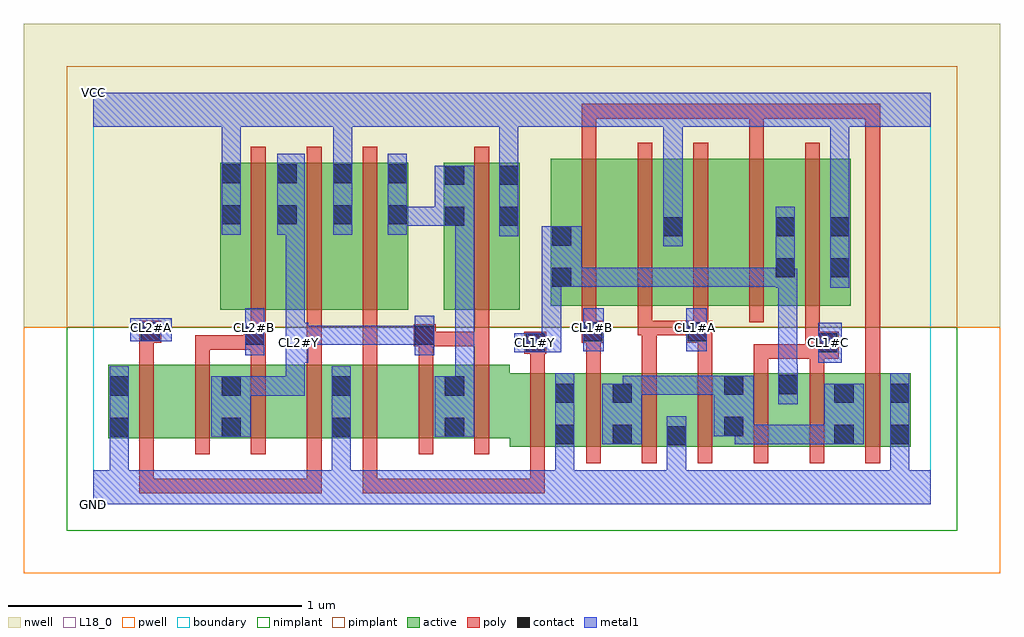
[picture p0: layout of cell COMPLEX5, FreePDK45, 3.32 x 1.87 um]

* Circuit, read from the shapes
.subckt COMPLEX5 CL1#A CL1#B CL1#C CL1#Y CL2#A CL2#B CL2#Y GND VCC
M1 n1 CL2#A GND VSUBS nfet w=0.25u l=0.05u
M2 CL2#Y CL2#B n1 VSUBS nfet w=0.25u l=0.05u
M3 n2 CL2#B CL2#Y VSUBS nfet w=0.25u l=0.05u
M4 GND CL2#A n2 VSUBS nfet w=0.25u l=0.05u
M5 n3 CL1#Y GND VSUBS nfet w=0.25u l=0.05u
M6 n4 CL2#Y n3 VSUBS nfet w=0.25u l=0.05u
M7 n5 CL2#Y n4 VSUBS nfet w=0.25u l=0.05u
M8 GND CL1#Y n5 VSUBS nfet w=0.25u l=0.05u
M9 n6 CL1#B GND VSUBS nfet w=0.25u l=0.05u m=2
M10 GND CL1#A n6 VSUBS nfet w=0.25u l=0.05u m=2
M11 CL1#Y CL1#C n6 VSUBS nfet w=0.25u l=0.05u m=2
M12 CL2#Y CL2#B VCC n7 pfet w=0.5u l=0.05u
M13 VCC CL2#A CL2#Y n7 pfet w=0.5u l=0.05u
M14 n4 CL1#Y VCC n7 pfet w=0.5u l=0.05u
M15 VCC CL2#Y n4 n7 pfet w=0.5u l=0.05u
M16 n8 CL1#B CL1#Y n7 pfet w=0.5u l=0.05u
M17 VCC CL1#A n8 n7 pfet w=0.5u l=0.05u
M18 n9 CL1#A VCC n7 pfet w=0.5u l=0.05u
M19 CL1#Y CL1#B n9 n7 pfet w=0.5u l=0.05u
M20 VCC CL1#C CL1#Y n7 pfet w=0.5u l=0.05u
.ends

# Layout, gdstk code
import gdstk
lib = gdstk.Library(unit=1e-6, precision=1e-09)
def R(c, l, rs):  # rectangles x0, y0, x1, y1
    for r in rs: c.add(gdstk.rectangle(r[:2], r[2:], *l))
def A(c, l, x, y, w, h, nx, ny, dx, dy):  # array of equal rectangles
    R(c, l, [(x+i*dx, y+j*dy, x+i*dx+w, y+j*dy+h) for i in range(nx) for j in range(ny)])
active = (1, 0)
pwell = (2, 0)
nwell = (3, 0)
nimplant = (4, 0)
pimplant = (5, 0)
poly = (9, 0)
contact = (10, 0)
metal1 = (11, 0)
L18_0 = (18, 0)
boundary = (235, 0)

complex5 = lib.new_cell('COMPLEX5')
R(complex5, active, [(1.417,0.195,1.642,0.445), (1.567,0.195,1.837,0.445), (1.567,0.195,1.642,0.415), (1.762,0.195,2.022,0.445), (1.947,0.195,2.217,0.445), (1.947,0.195,2.022,0.372), (2.142,0.195,2.402,0.445), (2.327,0.195,2.592,0.445), (2.517,0.195,2.782,0.445), (1.762,0.2,1.837,0.415), (2.142,0.2,2.217,0.445), (2.517,0.2,2.592,0.445), (2.707,0.2,2.782,0.445), (0.052,0.225,0.277,0.475), (0.052,0.225,0.127,0.475), (0.277,0.225,0.507,0.475), (0.432,0.225,0.657,0.475), (0.432,0.225,0.507,0.467), (0.657,0.225,0.882,0.475), (0.807,0.225,0.882,0.44), (0.807,0.225,1.037,0.475), (1.037,0.225,1.267,0.475), (1.192,0.225,1.417,0.475), (1.192,0.225,1.267,0.467), (2.327,0.297,2.402,0.445), (0.432,0.662,0.507,1.162), (0.432,0.662,0.697,1.162), (0.622,0.662,0.887,1.162), (0.812,0.662,1.072,1.162), (0.997,0.662,1.072,1.162), (1.192,0.662,1.267,1.162), (1.192,0.662,1.452,1.162), (1.377,0.662,1.452,1.157), (1.557,0.675,1.782,1.175), (1.557,0.675,1.632,1.157), (1.782,0.675,2.01,1.175), (1.935,0.675,2.162,1.175), (2.162,0.675,2.392,1.175), (2.317,0.675,2.577,1.175), (2.502,0.675,2.577,1.175), (1.935,0.682,2.01,1.175), (2.317,0.762,2.392,1.157), (0.622,0.807,0.697,1.162), (0.812,0.807,0.887,1.162)])
R(complex5, pwell, [(-0.235,-0.235,3.085,0.602)])
R(complex5, nwell, [(-0.235,0.602,3.085,1.635)])
R(complex5, nimplant, [(-0.09,-0.09,2.94,0.602)])
R(complex5, pimplant, [(-0.09,0.602,2.94,1.49)])
A(complex5, poly, 1.487, 0.14, 0.05, 0.36, 7, 1, 0.19, 0)
A(complex5, poly, 0.157, 0.17, 0.05, 0.36, 7, 1, 0.19, 0)
A(complex5, poly, 0.347, 0.48, 0.05, 0.095, 3, 1, 0.19, 0)
A(complex5, poly, 1.662, 0.575, 0.05, 0.095, 3, 1, 0.19, 0)
A(complex5, poly, 0.537, 0.607, 0.05, 0.61, 3, 1, 0.19, 0)
A(complex5, poly, 1.662, 0.62, 0.05, 0.61, 5, 1, 0.19, 0)
R(complex5, poly, [(0.157,0.037,0.207,0.087), (0.157,0.037,0.207,0.087), (0.157,0.037,0.207,0.087), (0.157,0.037,0.207,0.22), (0.157,0.037,0.365,0.087), (0.315,0.037,0.365,0.087), (0.315,0.037,0.365,0.087), (0.315,0.037,0.365,0.087), (0.315,0.037,0.53,0.087), (0.48,0.037,0.53,0.087), (0.48,0.037,0.777,0.087), (0.727,0.037,0.777,0.087), (0.727,0.037,0.777,0.087), (0.727,0.037,0.777,0.087), (0.727,0.037,0.777,0.22), (0.917,0.037,0.967,0.087), (0.917,0.037,1.165,0.087), (0.917,0.037,0.967,0.22), (1.115,0.037,1.165,0.087), (1.115,0.037,1.165,0.087), (1.115,0.037,1.165,0.087), (1.115,0.037,1.297,0.087), (1.247,0.037,1.297,0.087), (1.247,0.037,1.297,0.087), (1.247,0.037,1.297,0.087), (1.247,0.037,1.537,0.087), (1.487,0.037,1.537,0.087), (1.487,0.037,1.537,0.087), (1.487,0.037,1.537,0.087), (1.487,0.037,1.537,0.19), (1.487,0.45,1.537,0.562), (1.677,0.45,1.727,0.6), (1.867,0.45,1.917,0.625), (2.057,0.45,2.107,0.6), (2.247,0.45,2.297,0.545), (2.437,0.45,2.487,0.545), (2.627,0.45,2.677,1.362), (0.157,0.48,0.207,0.6), (0.917,0.48,0.967,0.612), (1.107,0.48,1.157,0.587), (1.297,0.48,1.347,0.587), (2.247,0.495,2.297,0.545), (2.247,0.495,2.412,0.545), (2.362,0.495,2.412,0.545), (2.362,0.495,2.472,0.545), (2.422,0.495,2.537,0.587), (1.467,0.512,1.542,0.587), (0.347,0.525,0.397,0.575), (0.347,0.525,0.562,0.575), (0.512,0.525,0.562,0.575), (0.512,0.525,0.562,0.575), (0.512,0.525,0.587,0.612), (0.727,0.525,0.777,0.575), (0.727,0.525,0.777,0.657), (1.09,0.537,1.165,0.612), (1.115,0.537,1.347,0.587), (1.297,0.537,1.347,0.587), (1.297,0.537,1.347,0.587), (1.297,0.537,1.347,0.587), (1.297,0.537,1.347,0.657), (2.422,0.537,2.472,0.67), (0.157,0.55,0.232,0.625), (1.662,0.55,1.737,0.625), (2.017,0.55,2.107,0.625), (0.537,0.562,0.587,0.657), (0.917,0.562,0.967,0.612), (0.917,0.562,0.967,0.657), (1.852,0.575,1.917,0.625), (1.867,0.575,1.917,0.625), (1.867,0.575,1.917,0.625), (1.867,0.575,2.067,0.625), (1.297,0.607,1.347,1.217), (1.662,1.18,1.712,1.362), (2.232,1.18,2.282,1.362), (1.662,1.312,1.712,1.362), (1.662,1.312,1.712,1.362), (1.662,1.312,1.712,1.362), (1.662,1.312,1.917,1.362), (1.867,1.312,1.917,1.362), (1.867,1.312,1.917,1.362), (1.867,1.312,1.917,1.362), (1.867,1.312,2.05,1.362), (2,1.312,2.05,1.362), (2,1.312,2.05,1.362), (2,1.312,2.05,1.362), (2,1.312,2.282,1.362), (2.232,1.312,2.282,1.362), (2.232,1.312,2.282,1.362), (2.232,1.312,2.282,1.362), (2.232,1.312,2.545,1.362), (2.495,1.312,2.545,1.362), (2.495,1.312,2.545,1.362), (2.495,1.312,2.545,1.362), (2.495,1.312,2.677,1.362), (2.627,1.312,2.677,1.362), (2.627,1.312,2.677,1.362), (2.627,1.312,2.677,1.362), (2.627,1.312,2.677,1.362), (2.627,1.312,2.677,1.362), (2.627,1.312,2.677,1.362), (2.627,1.312,2.677,1.362), (2.627,1.312,2.677,1.362), (2.627,1.312,2.677,1.362), (2.627,1.312,2.677,1.362), (2.627,1.312,2.677,1.362)])
A(complex5, contact, 0.437, 0.952, 0.065, 0.065, 3, 2, 0.19, 0.14)
R(complex5, contact, [(1.952,0.2,2.017,0.265), (1.572,0.205,1.637,0.27), (1.767,0.205,1.832,0.27), (2.522,0.205,2.587,0.27), (2.712,0.205,2.777,0.27), (0.057,0.23,0.122,0.295), (0.437,0.23,0.502,0.295), (0.812,0.23,0.877,0.295), (1.197,0.23,1.262,0.295), (2.147,0.232,2.212,0.297), (1.572,0.345,1.637,0.41), (1.767,0.345,1.832,0.41), (2.522,0.345,2.587,0.41), (2.712,0.345,2.777,0.41), (0.057,0.37,0.122,0.435), (0.437,0.37,0.502,0.435), (0.812,0.37,0.877,0.435), (1.197,0.37,1.262,0.435), (2.147,0.372,2.212,0.437), (2.332,0.375,2.397,0.44), (1.472,0.517,1.537,0.582), (2.467,0.517,2.532,0.582), (0.517,0.542,0.582,0.607), (1.095,0.542,1.16,0.607), (0.162,0.555,0.227,0.62), (1.667,0.555,1.732,0.62), (2.022,0.555,2.087,0.62), (1.562,0.74,1.627,0.805), (2.322,0.772,2.387,0.837), (2.507,0.772,2.572,0.837), (1.562,0.88,1.627,0.945), (1.94,0.912,2.005,0.977), (2.322,0.912,2.387,0.977), (2.507,0.912,2.572,0.977), (1.197,0.947,1.262,1.012), (1.382,0.947,1.447,1.012), (1.002,0.952,1.067,1.017), (1.197,1.087,1.262,1.152), (1.382,1.087,1.447,1.152), (1.002,1.092,1.067,1.157)])
R(complex5, metal1, [(0,0,2.85,0.115), (0.057,0.05,0.122,0.26), (0.812,0.05,0.877,0.115), (0.812,0.05,0.877,0.115), (0.812,0.05,0.877,0.115), (0.812,0.05,0.877,0.115), (0.812,0.05,0.877,0.26), (1.572,0.05,1.637,0.235), (1.952,0.05,2.017,0.115), (1.952,0.05,2.017,0.115), (1.952,0.05,2.017,0.115), (1.952,0.05,2.017,0.115), (1.952,0.05,2.017,0.23), (2.712,0.05,2.777,0.235), (2.712,0.05,2.777,0.115), (2.712,0.05,2.777,0.115), (2.712,0.05,2.777,0.115), (2.712,0.05,2.777,0.115), (1.952,0.165,2.017,0.3), (1.572,0.17,1.637,0.445), (1.572,0.17,1.637,0.235), (1.572,0.17,1.637,0.235), (1.572,0.17,1.637,0.235), (1.572,0.17,1.637,0.235), (2.712,0.17,2.777,0.445), (0.057,0.195,0.122,0.47), (0.057,0.195,0.122,0.26), (0.057,0.195,0.122,0.26), (0.057,0.195,0.122,0.26), (0.057,0.195,0.122,0.26), (0.812,0.195,0.877,0.47), (1.732,0.205,1.867,0.41), (2.182,0.205,2.247,0.27), (2.182,0.205,2.247,0.27), (2.182,0.205,2.247,0.27), (2.182,0.205,2.385,0.27), (2.182,0.205,2.247,0.297), (2.32,0.205,2.385,0.27), (2.32,0.205,2.552,0.27), (2.487,0.205,2.552,0.27), (2.487,0.205,2.552,0.27), (2.487,0.205,2.622,0.41), (0.402,0.23,0.537,0.435), (1.162,0.23,1.297,0.435), (2.112,0.232,2.247,0.437), (2.33,0.34,2.397,0.475), (1.802,0.345,1.867,0.41), (1.802,0.345,1.867,0.437), (0.472,0.37,0.72,0.435), (0.655,0.37,0.72,0.435), (0.655,0.37,0.72,0.435), (0.655,0.37,0.72,0.435), (0.655,0.37,0.72,0.547), (1.232,0.37,1.297,1.012), (1.802,0.372,2.04,0.437), (1.975,0.372,2.04,0.437), (1.975,0.372,2.04,0.437), (1.975,0.372,2.04,0.437), (1.975,0.372,2.177,0.437), (2.33,0.41,2.395,0.802), (0.655,0.482,0.732,0.617), (2.467,0.482,2.547,0.617), (0.517,0.507,0.582,0.667), (1.095,0.507,1.16,0.642), (1.432,0.517,1.572,0.582), (1.507,0.517,1.592,0.582), (1.527,0.517,1.592,0.582), (1.527,0.517,1.592,0.805), (1.667,0.52,1.737,0.667), (2.017,0.52,2.087,0.667), (0.667,0.542,0.885,0.607), (0.82,0.542,0.885,0.607), (0.82,0.542,0.885,0.607), (0.82,0.542,0.885,0.607), (0.82,0.542,1.022,0.607), (0.957,0.542,1.022,0.607), (0.957,0.542,1.022,0.607), (0.957,0.542,1.022,0.607), (0.957,0.542,1.16,0.607), (0.655,0.552,0.72,0.982), (0.127,0.555,0.267,0.632), (2.322,0.737,2.387,1.012), (2.322,0.737,2.387,0.802), (2.322,0.737,2.395,0.802), (2.507,0.737,2.572,1.012), (1.527,0.74,1.662,0.945), (1.597,0.74,1.71,0.805), (1.645,0.74,1.71,0.805), (1.645,0.74,1.867,0.805), (1.802,0.74,1.867,0.805), (1.802,0.74,1.867,0.805), (1.802,0.74,1.867,0.805), (1.802,0.74,2.005,0.805), (1.94,0.74,2.005,0.805), (1.94,0.74,2.005,0.805), (1.94,0.74,2.005,0.805), (1.94,0.74,2.177,0.805), (2.112,0.74,2.177,0.805), (2.112,0.74,2.387,0.805), (2.322,0.74,2.387,0.805), (2.322,0.74,2.387,0.805), (1.94,0.877,2.005,1.012), (1.382,0.912,1.447,1.187), (0.437,0.917,0.502,1.192), (0.627,0.917,0.72,1.192), (0.817,0.917,0.882,1.192), (1.002,0.917,1.067,1.192), (1.002,0.947,1.227,1.012), (1.162,0.947,1.227,1.012), (1.162,0.947,1.227,1.012), (1.162,0.947,1.297,1.152), (1.232,0.947,1.297,1.012), (1.232,0.947,1.297,1.012), (1.94,0.947,2.005,1.012), (1.94,0.947,2.005,1.012), (1.94,0.947,2.005,1.35), (2.507,0.947,2.572,1.012), (2.507,0.947,2.572,1.012), (2.507,0.947,2.572,1.35), (1.382,1.122,1.447,1.187), (1.382,1.122,1.447,1.187), (1.382,1.122,1.447,1.35), (0.437,1.127,0.502,1.35), (0.817,1.127,0.882,1.192), (0.817,1.127,0.882,1.192), (0.817,1.127,0.882,1.35), (0,1.285,2.85,1.4), (0.437,1.285,0.502,1.35), (0.437,1.285,0.502,1.35)])
R(complex5, L18_0, [(0,0,2.85,0.115), (0.057,0.05,0.122,0.26), (0.812,0.05,0.877,0.115), (0.812,0.05,0.877,0.115), (0.812,0.05,0.877,0.115), (0.812,0.05,0.877,0.115), (0.812,0.05,0.877,0.26), (1.572,0.05,1.637,0.235), (1.952,0.05,2.017,0.115), (1.952,0.05,2.017,0.115), (1.952,0.05,2.017,0.115), (1.952,0.05,2.017,0.115), (1.952,0.05,2.017,0.23), (2.712,0.05,2.777,0.115), (2.712,0.05,2.777,0.115), (2.712,0.05,2.777,0.115), (2.712,0.05,2.777,0.115), (2.712,0.05,2.777,0.235), (1.952,0.165,2.017,0.3), (1.572,0.17,1.637,0.235), (1.572,0.17,1.637,0.235), (1.572,0.17,1.637,0.235), (1.572,0.17,1.637,0.235), (1.572,0.17,1.637,0.445), (2.712,0.17,2.777,0.445), (0.057,0.195,0.122,0.26), (0.057,0.195,0.122,0.26), (0.057,0.195,0.122,0.26), (0.057,0.195,0.122,0.26), (0.057,0.195,0.122,0.47), (0.812,0.195,0.877,0.47), (0.402,0.23,0.537,0.435), (2.33,0.34,2.397,0.475), (0.472,0.37,0.72,0.435), (0.655,0.37,0.72,0.435), (0.655,0.37,0.72,0.435), (0.655,0.37,0.72,0.435), (0.655,0.37,0.72,0.547), (2.33,0.41,2.395,0.802), (0.655,0.482,0.732,0.617), (2.467,0.482,2.547,0.617), (0.517,0.507,0.582,0.667), (1.095,0.507,1.16,0.642), (0.667,0.517,0.732,0.582), (1.432,0.517,1.572,0.582), (1.467,0.517,1.532,0.582), (1.507,0.517,1.592,0.582), (1.527,0.517,1.592,0.582), (1.527,0.517,1.592,0.805), (2.467,0.517,2.532,0.582), (1.667,0.52,1.737,0.667), (2.017,0.52,2.087,0.667), (0.667,0.542,0.885,0.607), (0.82,0.542,0.885,0.607), (0.82,0.542,0.885,0.607), (0.82,0.542,0.885,0.607), (0.82,0.542,1.022,0.607), (0.957,0.542,1.022,0.607), (0.957,0.542,1.022,0.607), (0.957,0.542,1.022,0.607), (0.957,0.542,1.16,0.607), (0.655,0.552,0.72,0.982), (0.127,0.555,0.267,0.632), (0.167,0.567,0.232,0.632), (0.517,0.567,0.582,0.632), (1.667,0.567,1.732,0.632), (2.017,0.567,2.082,0.632), (2.322,0.737,2.387,0.802), (2.322,0.737,2.387,1.012), (2.322,0.737,2.395,0.802), (2.507,0.737,2.572,1.012), (1.527,0.74,1.662,0.945), (1.597,0.74,1.71,0.805), (1.645,0.74,1.71,0.805), (1.645,0.74,1.867,0.805), (1.802,0.74,1.867,0.805), (1.802,0.74,1.867,0.805), (1.802,0.74,1.867,0.805), (1.802,0.74,2.005,0.805), (1.94,0.74,2.005,0.805), (1.94,0.74,2.005,0.805), (1.94,0.74,2.005,0.805), (1.94,0.74,2.177,0.805), (2.112,0.74,2.177,0.805), (2.112,0.74,2.387,0.805), (2.322,0.74,2.387,0.805), (2.322,0.74,2.387,0.805), (1.94,0.877,2.005,1.012), (1.382,0.912,1.447,1.187), (0.437,0.917,0.502,1.192), (0.627,0.917,0.72,1.192), (0.817,0.917,0.882,1.192), (1.94,0.947,2.005,1.012), (1.94,0.947,2.005,1.012), (1.94,0.947,2.005,1.35), (2.507,0.947,2.572,1.012), (2.507,0.947,2.572,1.012), (2.507,0.947,2.572,1.35), (1.382,1.122,1.447,1.187), (1.382,1.122,1.447,1.187), (1.382,1.122,1.447,1.35), (0.437,1.127,0.502,1.35), (0.817,1.127,0.882,1.192), (0.817,1.127,0.882,1.192), (0.817,1.127,0.882,1.35), (0,1.285,2.85,1.4), (0.437,1.285,0.502,1.35), (0.437,1.285,0.502,1.35)])
R(complex5, boundary, [(0,0,2.85,1.4)])
complex5.add(gdstk.Label('CL1#A', (2.05,0.6), layer=11, texttype=0))
complex5.add(gdstk.Label('CL1#B', (1.7,0.6), layer=11, texttype=0))
complex5.add(gdstk.Label('CL1#C', (2.5,0.55), layer=11, texttype=0))
complex5.add(gdstk.Label('CL1#Y', (1.5,0.55), layer=11, texttype=0))
complex5.add(gdstk.Label('CL2#A', (0.2,0.6), layer=11, texttype=0))
complex5.add(gdstk.Label('CL2#B', (0.55,0.6), layer=11, texttype=0))
complex5.add(gdstk.Label('CL2#Y', (0.7,0.55), layer=11, texttype=0))
complex5.add(gdstk.Label('VCC', (0,1.4), layer=11, texttype=0))
complex5.add(gdstk.Label('GND', (0,0), layer=11, texttype=0))

lib.write_gds('COMPLEX5.gds')
